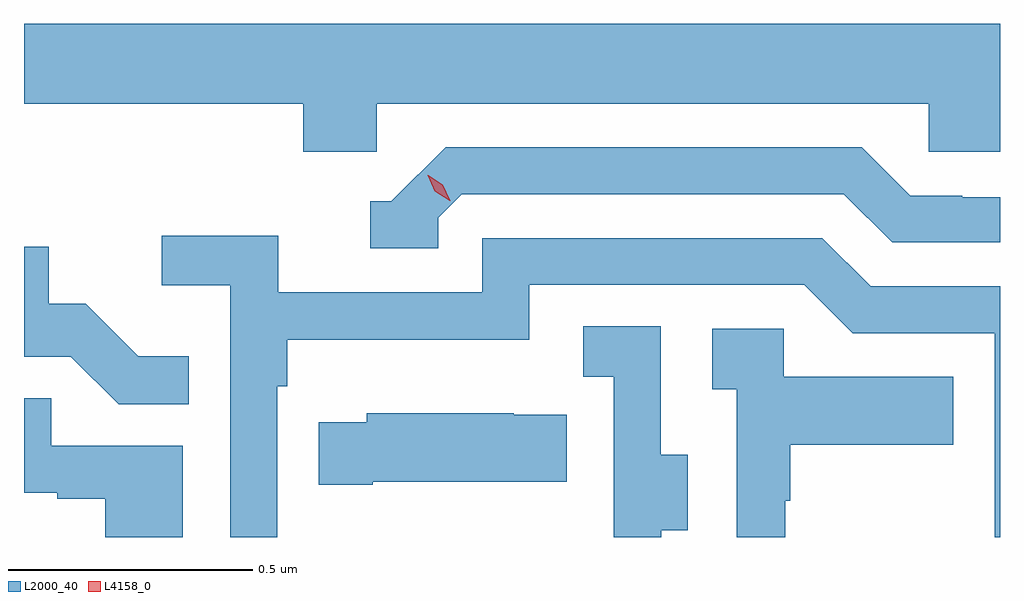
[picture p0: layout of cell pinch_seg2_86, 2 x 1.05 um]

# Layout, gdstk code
import gdstk
lib = gdstk.Library(unit=1e-6, precision=1e-09)
def P(c, l, *ps):  # polygons
    for p in ps: c.add(gdstk.Polygon(p, *l))
L2000_40 = (2000, 40)
L4158_0 = (4158, 0)

pinch_seg2_86 = lib.new_cell('pinch_seg2_86')
P(pinch_seg2_86, L2000_40, [(1054.122,658.292),(1055.253,658.292),(1055.253,658.194),(1055.399,658.194),(1055.399,658.456),(1053.399,658.456),(1053.399,658.292),(1053.971,658.292),(1053.971,658.194),(1054.122,658.194)],
  [(1054.248,658.059),(1054.296,658.107),(1055.079,658.107),(1055.178,658.008),(1055.399,658.008),(1055.399,658.101),(1055.322,658.101),(1055.322,658.104),(1055.215,658.104),(1055.116,658.203),(1054.263,658.203),(1054.152,658.092),(1054.109,658.092),(1054.109,657.996),(1054.248,657.996)],
  [(1053.918,657.713),(1053.938,657.713),(1053.938,657.809),(1054.434,657.809),(1054.434,657.921),(1054.998,657.921),(1055.097,657.822),(1055.388,657.822),(1055.388,657.404),(1055.399,657.404),(1055.399,657.918),(1055.134,657.918),(1055.035,658.017),(1054.338,658.017),(1054.338,657.906),(1053.92,657.906),(1053.92,658.022),(1053.681,658.022),(1053.681,657.92),(1053.822,657.92),(1053.822,657.404),(1053.918,657.404)],
  [(1053.737,657.775),(1053.633,657.775),(1053.526,657.882),(1053.45,657.882),(1053.45,657.999),(1053.399,657.999),(1053.399,657.774),(1053.495,657.774),(1053.593,657.676),(1053.737,657.676)],
  [(1054.705,657.418),(1054.759,657.418),(1054.759,657.573),(1054.704,657.573),(1054.704,657.836),(1054.545,657.836),(1054.545,657.733),(1054.608,657.733),(1054.608,657.429),(1054.607,657.429),(1054.607,657.404),(1054.705,657.404)],
  [(1054.959,657.479),(1054.969,657.479),(1054.969,657.593),(1055.303,657.593),(1055.303,657.733),(1054.956,657.733),(1054.956,657.831),(1054.809,657.831),(1054.809,657.707),(1054.86,657.707),(1054.86,657.404),(1054.959,657.404)],
  [(1053.724,657.591),(1053.455,657.591),(1053.455,657.689),(1053.399,657.689),(1053.399,657.495),(1053.467,657.495),(1053.467,657.483),(1053.566,657.483),(1053.566,657.404),(1053.724,657.404)],
  [(1054.114,657.518),(1054.511,657.518),(1054.511,657.655),(1054.403,657.655),(1054.403,657.658),(1054.101,657.658),(1054.101,657.64),(1054.003,657.64),(1054.003,657.511),(1054.114,657.511)])
P(pinch_seg2_86, L4158_0, [(1054.271,658.093),(1054.241,658.113),(1054.226,658.146),(1054.226,658.146),(1054.227,658.146),(1054.257,658.126),(1054.272,658.093),(1054.272,658.093)])

lib.write_gds('pinch_seg2_86.gds')
